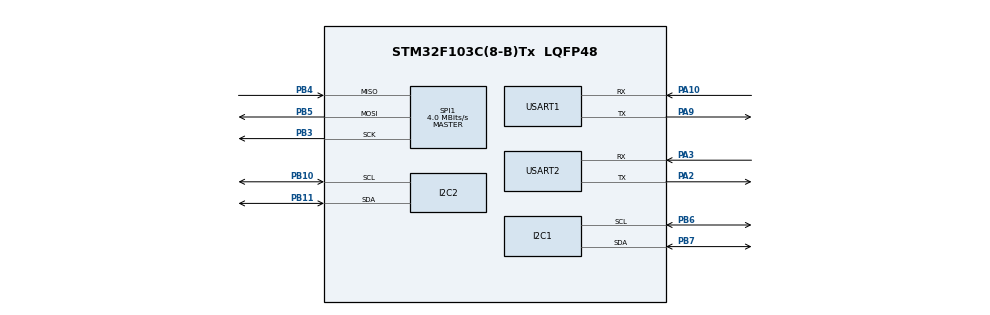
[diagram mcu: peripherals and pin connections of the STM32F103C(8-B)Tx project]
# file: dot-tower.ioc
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Mcu.Family=STM32F1
Mcu.Name=STM32F103C(8-B)Tx
Mcu.Package=LQFP48
NVIC.PriorityGroup=NVIC_PRIORITYGROUP_4
PA10.Mode=Asynchronous
PA10.Signal=USART1_RX
PA13.Mode=Serial_Wire
PA13.Signal=SYS_JTMS-SWDIO
PA14.Mode=Serial_Wire
PA14.Signal=SYS_JTCK-SWCLK
PA2.Mode=Asynchronous
PA2.Signal=USART2_TX
PA3.Mode=Asynchronous
PA3.Signal=USART2_RX
PA9.Mode=Asynchronous
PA9.Signal=USART1_TX
PB10.Mode=I2C
PB10.Signal=I2C2_SCL
PB11.Mode=I2C
PB11.Signal=I2C2_SDA
PB3.Mode=Full_Duplex_Master
PB3.Signal=SPI1_SCK
PB4.Mode=Full_Duplex_Master
PB4.Signal=SPI1_MISO
PB5.Mode=Full_Duplex_Master
PB5.Signal=SPI1_MOSI
PB6.Mode=I2C
PB6.Signal=I2C1_SCL
PB7.Mode=I2C
PB7.Signal=I2C1_SDA
ProjectManager.HeapSize=0x200
ProjectManager.StackSize=0x400
ProjectManager.TargetToolchain=STM32CubeIDE
RCC.APB1Freq_Value=8000000
RCC.APB2Freq_Value=8000000
SPI1.CalculateBaudRate=4.0 MBits/s
SPI1.Direction=SPI_DIRECTION_2LINES
SPI1.Mode=SPI_MODE_MASTER
SPI1.VirtualType=VM_MASTER
USART1.VirtualMode=VM_ASYNC
USART2.VirtualMode=VM_ASYNC
board=custom

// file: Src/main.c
/* USER CODE BEGIN Header */
/**
  ******************************************************************************
  * @file           : main.c
  * @brief          : Main program body
  ******************************************************************************
  * @attention
  *
  * <h2><center>&copy; Copyright (c) 2019 STMicroelectronics.
  * All rights reserved.</center></h2>
  *
  * This software component is licensed by ST under BSD 3-Clause license,
  * the "License"; You may not use this file except in compliance with the
  * License. You may obtain a copy of the License at:
  *                        opensource.org/licenses/BSD-3-Clause
  *
  ******************************************************************************
  */
/* USER CODE END Header */

#include "main.h"

/* USER CODE BEGIN Includes */
#include "iprintf.h"
#include <stdbool.h>

/* USER CODE END Includes */

/* USER CODE BEGIN PM */

// 7 bit addresses
#define DISPLAY_1_ADDR (0b1110111 << 1)	//0x77
#define DISPLAY_2_ADDR (0b1110110 << 1)	//0x76

#define DISPLAY_3_ADDR (0b1110100 << 1)
#define DISPLAY_4_ADDR (0b1110101 << 1)

/* USER CODE END PM */

I2C_HandleTypeDef hi2c1;
I2C_HandleTypeDef hi2c2;

SPI_HandleTypeDef hspi1;

UART_HandleTypeDef huart1;
UART_HandleTypeDef huart2;

void SystemClock_Config(void);
static void MX_GPIO_Init(void);
static void MX_I2C1_Init(void);
static void MX_I2C2_Init(void);
static void MX_SPI1_Init(void);
static void MX_USART2_UART_Init(void);
static void MX_USART1_UART_Init(void);
/* USER CODE BEGIN PFP */

void displayInit(void);

/* USER CODE END PFP */

/* USER CODE BEGIN 0 */

static bool addonDisplays = false;

/* USER CODE END 0 */

int main(void)
{

  /* MCU Configuration--------------------------------------------------------*/

  /* Reset of all peripherals, Initializes the Flash interface and the Systick. */
  HAL_Init();

  /* Configure the system clock */
  SystemClock_Config();

  /* Initialize all configured peripherals */
  MX_GPIO_Init();
  MX_I2C1_Init();
  MX_I2C2_Init();
  MX_SPI1_Init();
  MX_USART2_UART_Init();
  MX_USART1_UART_Init();
  /* USER CODE BEGIN 2 */

  iprintf("Booted "__DATE__": "__TIME__ "\n");

  displayInit();

  /* USER CODE END 2 */

  /* Infinite loop */
  /* USER CODE BEGIN WHILE */

  // some LED test code
  HAL_StatusTypeDef err;

  uint8_t buf[100];
  uint8_t roll = 0;

  // turn all LEDs on
  buf[0] = 0x00;
  for(unsigned i = 0; i < 16; i++) {
	  buf[i + 1] = 0xFF;
  }
  err = HAL_I2C_Master_Transmit(&hi2c1, DISPLAY_1_ADDR, buf, 17, 1000);
  err += HAL_I2C_Master_Transmit(&hi2c1, DISPLAY_2_ADDR, buf, 17, 1000);
  HAL_Delay(1000);
  while (1)
  {
	  // reset LED write ptr to addr 0
	  buf[0] = 0x00;
	  // setup some fake data to send
	  for(unsigned i = 0; i < 16; i++) {
		  buf[i + 1] = i + roll;
	  }
	  unsigned bytes = 16 + 1;
	  err = HAL_I2C_Master_Transmit(&hi2c1, DISPLAY_1_ADDR, buf, bytes, 1000);
	  err += HAL_I2C_Master_Transmit(&hi2c1, DISPLAY_2_ADDR, buf, bytes, 1000);
	  iprintf("both write led ptr: %d (ok is %d)\n", err, HAL_OK);

	  roll++;
	  HAL_Delay(1000);
    /* USER CODE END WHILE */

  }
}

/* USER CODE BEGIN 4 */

// set brightness to 0-15. 15 is max
void setBrightness(uint8_t bright) {
	HAL_StatusTypeDef err;
	bright = 0xE0 | bright;
	err = HAL_I2C_Master_Transmit(&hi2c1, DISPLAY_1_ADDR, &bright, 1, 1000);
	err = HAL_I2C_Master_Transmit(&hi2c1, DISPLAY_2_ADDR, &bright, 1, 1000);
	iprintf("write %d (ok is %d)\n", err, HAL_OK);

}
void displayInit(void) {
	HAL_StatusTypeDef err;
	//hi2c1
	//DISPLAY_1_ADDR, DISPLAY_2_ADDR

	// enable osc
	// write 0x20 | 0x1 (writes a 0x1 to reg 0x20 I guess)
	uint8_t buf[] = {0x20 | 0x1};
	err = HAL_I2C_Master_Transmit(&hi2c1, DISPLAY_1_ADDR, buf, 1, 1000);
	iprintf("write osc en 1: %d (ok is %d)\n", err, HAL_OK);
	err = HAL_I2C_Master_Transmit(&hi2c1, DISPLAY_2_ADDR, buf, 1, 1000);
	iprintf("write osc en 2: %d (ok is %d)\n", err, HAL_OK);

	// probe for added displays
	err = HAL_I2C_Master_Transmit(&hi2c1, DISPLAY_3_ADDR, buf, 1, 1000);
	if(err == HAL_OK) {
		addonDisplays = true;
		iprintf("Addon displays present\n");
	}

	setBrightness(8);

	uint8_t blink;
	// no blink, enable display
	blink = 0x80 | 0x1;
	err = HAL_I2C_Master_Transmit(&hi2c1, DISPLAY_1_ADDR, &blink, 1, 1000);
	err = HAL_I2C_Master_Transmit(&hi2c1, DISPLAY_2_ADDR, &blink, 1, 1000);
	iprintf("write %d (ok is %d)\n", err, HAL_OK);
}
/* USER CODE END 4 */

void SystemClock_Config(void)
{
  RCC_OscInitTypeDef RCC_OscInitStruct = {0};
  RCC_ClkInitTypeDef RCC_ClkInitStruct = {0};

  /** Initializes the CPU, AHB and APB busses clocks
  */
  RCC_OscInitStruct.OscillatorType = RCC_OSCILLATORTYPE_HSI;
  RCC_OscInitStruct.HSIState = RCC_HSI_ON;
  RCC_OscInitStruct.HSICalibrationValue = RCC_HSICALIBRATION_DEFAULT;
  RCC_OscInitStruct.PLL.PLLState = RCC_PLL_NONE;
  if (HAL_RCC_OscConfig(&RCC_OscInitStruct) != HAL_OK)
  {
    Error_Handler();
  }
  /** Initializes the CPU, AHB and APB busses clocks
  */
  RCC_ClkInitStruct.ClockType = RCC_CLOCKTYPE_HCLK|RCC_CLOCKTYPE_SYSCLK
                              |RCC_CLOCKTYPE_PCLK1|RCC_CLOCKTYPE_PCLK2;
  RCC_ClkInitStruct.SYSCLKSource = RCC_SYSCLKSOURCE_HSI;
  RCC_ClkInitStruct.AHBCLKDivider = RCC_SYSCLK_DIV1;
  RCC_ClkInitStruct.APB1CLKDivider = RCC_HCLK_DIV1;
  RCC_ClkInitStruct.APB2CLKDivider = RCC_HCLK_DIV1;

  if (HAL_RCC_ClockConfig(&RCC_ClkInitStruct, FLASH_LATENCY_0) != HAL_OK)
  {
    Error_Handler();
  }
}

static void MX_I2C1_Init(void)
{

  hi2c1.Instance = I2C1;
  hi2c1.Init.ClockSpeed = 100000;
  hi2c1.Init.DutyCycle = I2C_DUTYCYCLE_2;
  hi2c1.Init.OwnAddress1 = 0;
  hi2c1.Init.AddressingMode = I2C_ADDRESSINGMODE_7BIT;
  hi2c1.Init.DualAddressMode = I2C_DUALADDRESS_DISABLE;
  hi2c1.Init.OwnAddress2 = 0;
  hi2c1.Init.GeneralCallMode = I2C_GENERALCALL_DISABLE;
  hi2c1.Init.NoStretchMode = I2C_NOSTRETCH_DISABLE;
  if (HAL_I2C_Init(&hi2c1) != HAL_OK)
  {
    Error_Handler();
  }

}

static void MX_I2C2_Init(void)
{

  hi2c2.Instance = I2C2;
  hi2c2.Init.ClockSpeed = 100000;
  hi2c2.Init.DutyCycle = I2C_DUTYCYCLE_2;
  hi2c2.Init.OwnAddress1 = 0;
  hi2c2.Init.AddressingMode = I2C_ADDRESSINGMODE_7BIT;
  hi2c2.Init.DualAddressMode = I2C_DUALADDRESS_DISABLE;
  hi2c2.Init.OwnAddress2 = 0;
  hi2c2.Init.GeneralCallMode = I2C_GENERALCALL_DISABLE;
  hi2c2.Init.NoStretchMode = I2C_NOSTRETCH_DISABLE;
  if (HAL_I2C_Init(&hi2c2) != HAL_OK)
  {
    Error_Handler();
  }

}

static void MX_SPI1_Init(void)
{

  /* SPI1 parameter configuration*/
  hspi1.Instance = SPI1;
  hspi1.Init.Mode = SPI_MODE_MASTER;
  hspi1.Init.Direction = SPI_DIRECTION_2LINES;
  hspi1.Init.DataSize = SPI_DATASIZE_8BIT;
  hspi1.Init.CLKPolarity = SPI_POLARITY_LOW;
  hspi1.Init.CLKPhase = SPI_PHASE_1EDGE;
  hspi1.Init.NSS = SPI_NSS_SOFT;
  hspi1.Init.BaudRatePrescaler = SPI_BAUDRATEPRESCALER_2;
  hspi1.Init.FirstBit = SPI_FIRSTBIT_MSB;
  hspi1.Init.TIMode = SPI_TIMODE_DISABLE;
  hspi1.Init.CRCCalculation = SPI_CRCCALCULATION_DISABLE;
  hspi1.Init.CRCPolynomial = 10;
  if (HAL_SPI_Init(&hspi1) != HAL_OK)
  {
    Error_Handler();
  }

}

static void MX_USART1_UART_Init(void)
{

  huart1.Instance = USART1;
  huart1.Init.BaudRate = 115200;
  huart1.Init.WordLength = UART_WORDLENGTH_8B;
  huart1.Init.StopBits = UART_STOPBITS_1;
  huart1.Init.Parity = UART_PARITY_NONE;
  huart1.Init.Mode = UART_MODE_TX_RX;
  huart1.Init.HwFlowCtl = UART_HWCONTROL_NONE;
  huart1.Init.OverSampling = UART_OVERSAMPLING_16;
  if (HAL_UART_Init(&huart1) != HAL_OK)
  {
    Error_Handler();
  }

}

static void MX_USART2_UART_Init(void)
{

  huart2.Instance = USART2;
  huart2.Init.BaudRate = 115200;
  huart2.Init.WordLength = UART_WORDLENGTH_8B;
  huart2.Init.StopBits = UART_STOPBITS_1;
  huart2.Init.Parity = UART_PARITY_NONE;
  huart2.Init.Mode = UART_MODE_TX_RX;
  huart2.Init.HwFlowCtl = UART_HWCONTROL_NONE;
  huart2.Init.OverSampling = UART_OVERSAMPLING_16;
  if (HAL_UART_Init(&huart2) != HAL_OK)
  {
    Error_Handler();
  }

}

static void MX_GPIO_Init(void)
{

  /* GPIO Ports Clock Enable */
  __HAL_RCC_GPIOA_CLK_ENABLE();
  __HAL_RCC_GPIOB_CLK_ENABLE();

}

void Error_Handler(void)
{
}

/************************ (C) COPYRIGHT STMicroelectronics *****END OF FILE****/
